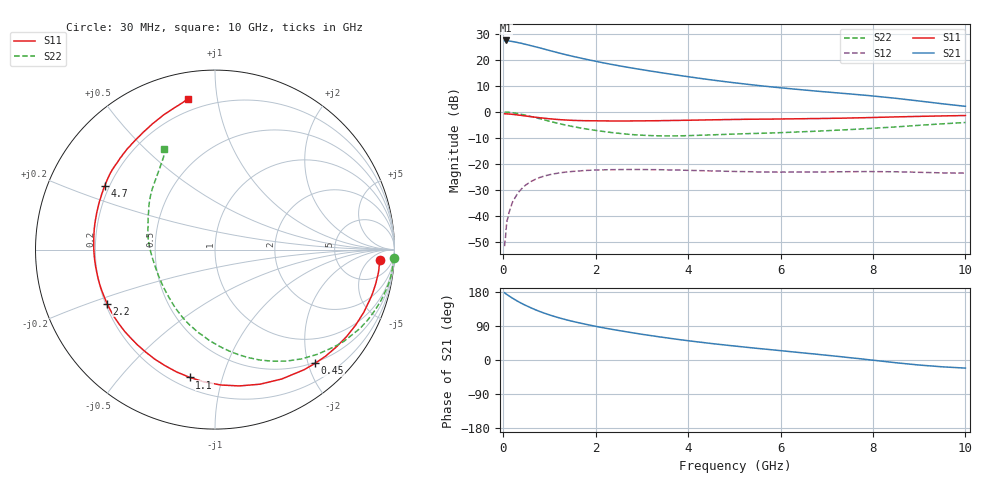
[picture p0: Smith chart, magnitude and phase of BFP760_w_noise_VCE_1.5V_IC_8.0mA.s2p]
! Infineon Technologies  Discrete & RF Semiconductors
! BFP760
! VCE =  1.5 V,  IC =  8.0 mA
! Common Emitter S-Parameters:  Nov 2012
# GHz  S  MA  R  50
!  f  S11  S21  S12  S22
! GHz  MAG  ANG  MAG  ANG  MAG  ANG  MAG  ANG
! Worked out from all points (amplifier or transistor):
!   99 points, 30 MHz to 10 GHz, reference 50 ohm
!   highest |S21| = 27.5 dB at 50 MHz (marker M1)
!   |S21| within 3 dB of that: start of sweep to 821 MHz
!   unconditionally stable (mu >= 1): 5.721 GHz to end of sweep
!   at 350 MHz: K = 0.11, MSG = 28.6 dB, |S12| = -30.5 dB
!   at 3.5 GHz: K = 0.61, MSG = 18.6 dB, |S12| = -22.3 dB
!   at 10 GHz: K = 1.24, MAG = 9.9 dB, |S12| = -23.6 dB
!   lowest NFmin = 0.46 dB at 900 MHz
!   S11 on the Smith chart (normalised r, x): 30 MHz: 15, -12; 450 MHz: 0.48, -2.12; 1.1 GHz: 0.26, -0.79; 2.2 GHz: 0.21, -0.23; 4.7 GHz: 0.18, +0.26; 10 GHz: 0.13, +0.83
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0.03  0.923 -3.6  23.45 177.5  0.0026 81.6  0.9975 -2.7
0.04  0.922 -4.7  23.49 176.7  0.0034 83.6  0.9968 -3.5
0.05  0.919 -5.8  23.83 175.2  0.0039 82.9  0.9941 -4.3
0.15  0.9081 -17.3  23.14 167.1  0.0135 80.3  0.9809 -12.8
0.25  0.8895 -28.2  22.32 159.5  0.0218 74.9  0.9528 -20.9
0.35  0.867 -38.7  21.34 152.5  0.0297 67.8  0.9198 -28.5
0.45  0.8444 -48.6  20.38 146.2  0.0369 62.4  0.8812 -35.5
0.6  0.8112 -62.7  18.91 137.7  0.0457 55.2  0.8169 -45.5
0.8  0.7715 -79.9  17.07 127.5  0.0551 46.8  0.7375 -57.4
1  0.7398 -94.6  15.28 119.0  0.0618 40.0  0.6632 -68.0
1.1  0.7259 -101.2  14.46 115.2  0.0644 36.9  0.6294 -72.9
1.4  0.6963 -118.9  12.39 105.0  0.0701 29.4  0.5479 -85.9
1.7  0.6805 -133.7  10.78 96.5  0.0737 23.7  0.4855 -97.7
2.2  0.672 -153.4  8.716 84.2  0.0769 16.1  0.4171 -116.0
2.8  0.6717 -172.0  6.989 71.8  0.0779 9.5  0.366 -135.9
3.4  0.6798 172.8  5.736 60.7  0.0771 4.6  0.3469 -154.6
4  0.6924 160.6  4.778 50.9  0.0751 1.0  0.3499 -170.5
4.7  0.7098 149.9  3.936 40.9  0.0726 -1.2  0.3672 176.2
5.1  0.7191 145.2  3.563 35.7  0.0712 -2.0  0.3778 170.4
6.7  0.7454 130.5  2.558 16.3  0.0699 -2.3  0.4234 151.1
8.5  0.8038 110.7  1.83 -7.3  0.0704 -6.2  0.5156 129.6
10  0.8537 100.1  1.283 -21.4  0.0663 -6.0  0.6261 116.8
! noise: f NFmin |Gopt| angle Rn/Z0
0.9  0.46  0.29  26  0.1
1.8  0.52  0.23  54  0.09
2.4  0.57  0.18  81  0.09
3.5  0.75  0.16  119  0.08
5.5  0.95  0.3  -146  0.08
8  1.43  0.42  -98  0.24
